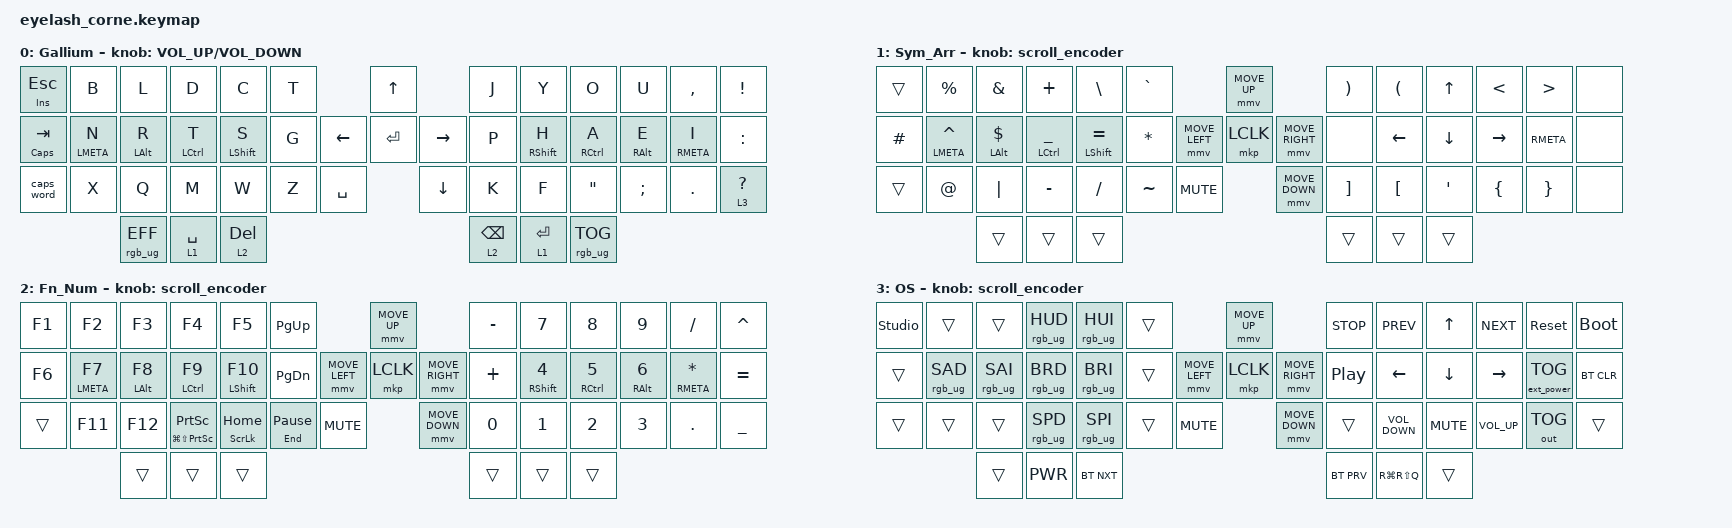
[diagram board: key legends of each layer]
#include <behaviors.dtsi>
#include <dt-bindings/zmk/bt.h>
#include <dt-bindings/zmk/keys.h>
#include <dt-bindings/zmk/mouse.h>
#include <dt-bindings/zmk/outputs.h>
#include <dt-bindings/zmk/rgb.h>
#include <dt-bindings/zmk/ext_power.h>


#include <input/processors.dtsi>

/*

   &mmv_input_listener {
       input-processors = <&zip_xy_scaler 2 1>;
   };

   &msc_input_listener {
       input-processors = <&zip_xy_scaler 2 1>;
   };

 */

#define ZMK_MOUSE_DEFAULT_MOVE_VAL 1200  // 600
#define ZMK_MOUSE_DEFAULT_SCRL_VAL 20    // 10

/ {
    /*behaviors {
        td0: td0 {
            compatible = "zmk,behavior-tap-dance";
            display-name = "Shift/Caps Lock Tap Dance";
            #binding-cells = <0>;
            bindings = <&kp LEFT_SHIFT>, <&kp CAPS>;
        };
    };*/

    behaviors {
        ht_pt: hold-tap_prefer-tap {
            compatible = "zmk,behavior-hold-tap";
            #binding-cells = <2>;
            tapping-term-ms = <150>;
            quick-tap-ms = <0>;
            flavor = "tap-preferred";
            bindings = <&kp>, <&kp>;
        };
    };

    rgb_encoder: rgb_encoder {
        compatible = "zmk,behavior-sensor-rotate";
        #sensor-binding-cells = <0>;
        bindings = <&rgb_ug RGB_BRI>, <&rgb_ug RGB_BRD>;
    };

    scroll_encoder: scroll_encoder {
        compatible = "zmk,behavior-sensor-rotate";
        #sensor-binding-cells = <0>;
        bindings = <&msc SCRL_DOWN>, <&msc SCRL_UP>;
        tap-ms = <30>;
    };

    keymap {
        compatible = "zmk,keymap";

        layer_0 {
            display-name = "Gallium";
            bindings = <
&ht_pt INS ESC    &kp B       &kp L       &kp D           &kp C         &kp T                              &kp UP                &kp J        &kp Y         &kp O            &kp U         &kp COMMA    &kp EXCL
&ht_pt CAPS TAB   &mt LMETA N &mt LALT R  &mt LCTRL T     &mt LSHIFT S  &kp G                    &kp LEFT  &kp ENTER  &kp RIGHT  &kp P        &mt RSHIFT H  &mt RCTRL A      &mt RALT E    &mt RMETA I  &kp COLON
&caps_word        &kp X       &kp Q       &kp M           &kp W         &kp Z       &kp SPACE              &kp DOWN              &kp K        &kp F         &kp DQT          &kp SEMI      &kp DOT      &lt 3 QUESTION
                                    &rgb_ug RGB_EFF  &lt 1 SPACE &lt 2 DEL                                                   &lt 2 BSPC  &lt 1 ENTER  &rgb_ug RGB_TOG
            >;
            sensor-bindings = <&inc_dec_kp C_VOLUME_UP C_VOLUME_DOWN>;
        };

        layer_1 {
            display-name = "Sym_Arr";
            bindings = <
&trans    &kp PERCENT           &kp AMPS          &kp PLUS          &kp BSLH         &kp GRAVE                                        &mmv MOVE_UP                       &kp RPAR           &kp LPAR           &kp UP           &kp LT           &kp GT     &none
&kp HASH  &mt LMETA CARET       &mt LALT DOLLAR   &mt LCTRL UNDER   &mt LSHIFT EQUAL &kp ASTRK                          &mmv MOVE_LEFT  &mkp LCLK       &mmv MOVE_RIGHT  &none            &kp LEFT         &kp DOWN           &kp RIGHT      &kp RMETA  &none
&trans    &kp AT                &kp PIPE          &kp MINUS         &kp FSLH         &kp TILDE  &kp C_MUTE                    &mmv MOVE_DOWN                             &kp RBKT         &kp LBKT         &kp SQT           &kp LBRC        &kp RBRC    &none
                                         &trans        &trans        &trans                                                                                                    &trans          &trans          &trans
            >;
            sensor-bindings = <&scroll_encoder>;
        };

        layer_2 {
            display-name = "Fn_Num";
            bindings = <
&kp F1  &kp F2        &kp F3        &kp F4                                  &kp F5                      &kp PG_UP                           &mmv MOVE_UP                     &kp MINUS  &kp N7          &kp N8        &kp N9       &kp FSLH         &kp CARET
&kp F6  &mt LMETA F7  &mt LALT F8   &mt LCTRL F9                            &mt LSHIFT F10              &kp PG_DN            &mmv MOVE_LEFT  &mkp LCLK       &mmv MOVE_RIGHT  &kp PLUS   &mt RSHIFT N4   &mt RCTRL N5  &mt RALT N6  &mt RMETA ASTRK  &kp EQUAL
&trans  &kp F11       &kp F12       &ht_pt LG(LS(PRINTSCREEN)) PRINTSCREEN  &ht_pt SCROLLLOCK HOME      &ht_pt END PAUSE_BREAK &kp C_MUTE       &mmv MOVE_DOWN                   &kp N0     &kp N1          &kp N2        &kp N3       &kp DOT          &kp UNDER
                                    &trans     &trans     &trans                                                            &trans    &trans     &trans
            >;
            sensor-bindings = <&scroll_encoder>;
        };

        layer_3 {
            display-name = "OS";
            bindings = <
&studio_unlock   &trans           &trans            &rgb_ug RGB_HUD  &rgb_ug RGB_HUI  &trans                      &mmv MOVE_UP                             &kp C_STOP   &kp C_PREV            &kp UP       &kp C_NEXT       &sys_reset         &bootloader
&trans           &rgb_ug RGB_SAD  &rgb_ug RGB_SAI   &rgb_ug RGB_BRD  &rgb_ug RGB_BRI  &trans                &mmv MOVE_LEFT  &mkp LCLK   &mmv MOVE_RIGHT    &kp C_PP     &kp LEFT              &kp DOWN     &kp RIGHT        &ext_power EP_TOG  &bt BT_CLR
&trans           &trans           &trans            &rgb_ug RGB_SPD  &rgb_ug RGB_SPI  &trans    &kp C_MUTE         &mmv MOVE_DOWN                          &trans       &kp C_VOLUME_DOWN     &kp C_MUTE   &kp C_VOLUME_UP  &out OUT_TOG       &trans
                                &trans      &kp C_PWR      &bt BT_NXT                                                                                      &bt BT_PRV       &kp RG(RS(Q))     &trans

            >;
            sensor-bindings = <&scroll_encoder>;
        };
    };
};
